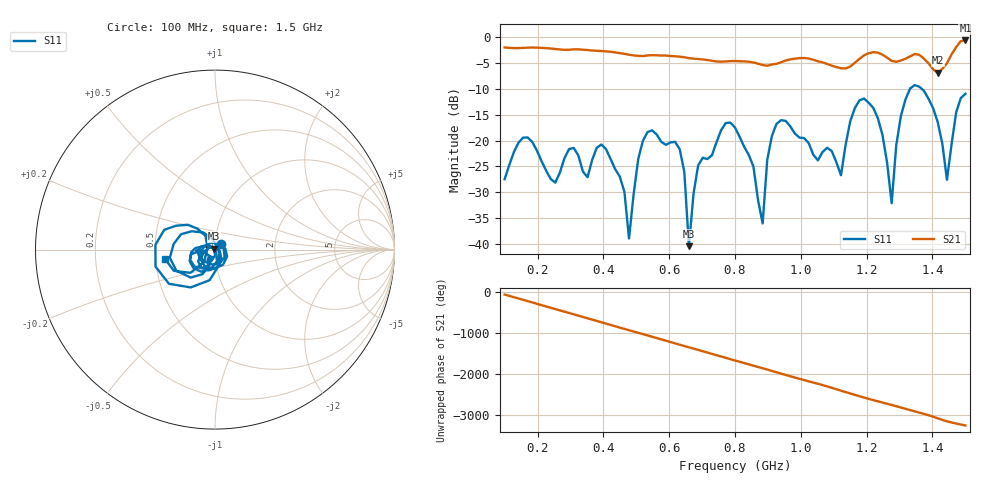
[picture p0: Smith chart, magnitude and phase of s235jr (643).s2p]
! NanoVNA-App
! Date: 2025-09-25 15:09:10
! Start: 100MHz Stop: 1,5GHz Points: 101
! S-Parameter data: F S11 S21 S12 S22
# Hz S RI R 50
!  Frequency  S11_Real  S11_Imag  S21_Real  S21_Imag  S12_Real  S12_Imag  S22_Real  S22_Imag
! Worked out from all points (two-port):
!   101 points, 100 MHz to 1.5 GHz, reference 50 ohm
!   highest |S21| = -0.61 dB at 1.5 GHz (marker M1); lowest = -6.8 dB at 1.416 GHz (marker M2)
!   |S21| within 3 dB of the highest: start of sweep to 512.5 MHz; 522.5 MHz to 601.9 MHz (79.38 MHz wide, 14.1 % of centre) (the widest 2 of 5)
!   lowest |S11| = -40.4 dB at 660 MHz (marker M3), VSWR 1.02, Z = 49.3 + j0.6 ohm
!   |S11| at or under -10 dB: start of sweep to 1.331 GHz; 1.368 GHz to end of sweep
!   S12 and S22 are empty: the file has one direction only
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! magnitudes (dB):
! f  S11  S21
! 100 MHz  -27.5  -2.0
! 156 MHz  -19.4  -2.0
! 338 MHz  -26.0  -2.4
! 408 MHz  -21.6  -2.7
! 478 MHz  -38.9  -3.4
! 520 MHz  -20.1  -3.6
! 576 MHz  -20.2  -3.5
! 632 MHz  -21.7  -3.7
! 660 MHz  -40.4  -4.0
! 688 MHz  -24.8  -4.2
! 800 MHz  -17.5  -4.6
! 884 MHz  -36.0  -5.4
! 926 MHz  -16.8  -5.1
! 1.038 GHz  -22.8  -4.3
! 1.122 GHz  -26.7  -6.0
! 1.192 GHz  -11.8  -3.5
! 1.248 GHz  -18.9  -3.4
! 1.276 GHz  -32.1  -4.6
! 1.332 GHz  -9.9  -3.7
! 1.416 GHz  -16.4  -6.8
! 1.444 GHz  -27.6  -5.0
! 1.5 GHz  -10.9  -0.6
